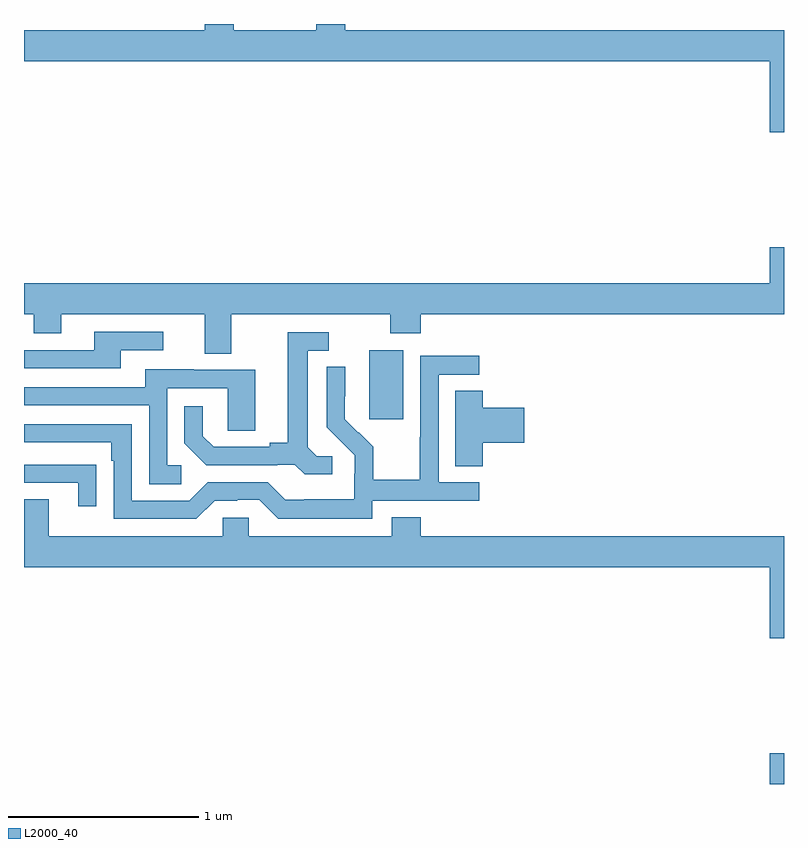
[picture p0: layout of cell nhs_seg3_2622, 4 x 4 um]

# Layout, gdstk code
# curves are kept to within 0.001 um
import gdstk
lib = gdstk.Library(unit=1e-6, precision=1e-09)
def R(c, l, rs):  # rectangles x0, y0, x1, y1
    for r in rs: c.add(gdstk.rectangle(r[:2], r[2:], *l))
def P(c, l, *ps):  # polygons
    for p in ps: c.add(gdstk.Polygon(p, *l))
L2000_40 = (2000, 40)

nhs_seg3_2622 = lib.new_cell('nhs_seg3_2622')
R(nhs_seg3_2622, L2000_40, [(248.924,742.4,249,742.561), (246.818,744.321,246.997,744.682)])
P(nhs_seg3_2622, L2000_40, [(249,746.368),(246.692,746.368),(246.692,746.4),(246.539,746.4),(246.539,746.368),(246.103,746.368),(246.103,746.4),(245.951,746.4),(245.951,746.368),(245,746.368),(245,746.204),(248.924,746.204),(248.924,745.83),(249,745.83)],
  [(246.091,744.872),(246.928,744.872),(246.928,744.773),(247.088,744.773),(247.088,744.872),(249,744.872),(249,745.225),(248.924,745.225),(248.924,745.036),(245,745.036),(245,744.872),(245.05,744.872),(245.05,744.773),(245.197,744.773),(245.197,744.872),(245.951,744.872),(245.951,744.664),(246.091,744.664)],
  [(245.509,744.684),(245.734,744.684),(245.734,744.78),(245.369,744.78),(245.369,744.684),(245,744.684),(245,744.588),(245.509,744.588)],
  [(246.622,744.126),(246.54,744.126),(246.493,744.173),(246.493,744.681),(246.604,744.681),(246.604,744.777),(246.389,744.777),(246.389,744.197),(246.293,744.197),(246.293,744.174),(245.998,744.174),(245.941,744.231),(245.941,744.388),(245.844,744.388),(245.844,744.194),(245.96,744.078),(246.332,744.078),(246.332,744.081),(246.426,744.081),(246.478,744.029),(246.622,744.029)],
  [(246.834,743.892),(247.396,743.892),(247.396,743.988),(247.182,743.988),(247.182,744.555),(247.396,744.555),(247.396,744.654),(247.086,744.654),(247.086,744.224),(247.084,744.224),(247.084,744.001),(246.839,744.001),(246.839,744.175),(246.762,744.252),(246.759,744.249),(246.689,744.32),(246.69,744.596),(246.594,744.596),(246.594,744.278),(246.74,744.13),(246.74,744.033),(246.738,744.033),(246.738,743.899),(246.475,743.899),(246.475,743.895),(246.375,743.895),(246.282,743.988),(245.967,743.988),(245.871,743.892),(245.568,743.892),(245.568,744.294),(245,744.294),(245,744.198),(245.459,744.198),(245.459,744.101),(245.472,744.101),(245.472,743.796),(245.907,743.796),(246.003,743.892),(246.122,743.892),(246.122,743.895),(246.237,743.895),(246.337,743.795),(246.834,743.795)],
  [(245.827,744.078),(245.754,744.078),(245.754,744.483),(246.072,744.483),(246.072,744.259),(246.217,744.259),(246.217,744.579),(245.893,744.579),(245.893,744.583),(245.639,744.583),(245.639,744.489),(245,744.489),(245,744.393),(245.658,744.393),(245.658,743.977),(245.827,743.977)],
  [(247.415,744.197),(247.633,744.197),(247.633,744.38),(247.415,744.38),(247.415,744.47),(247.271,744.47),(247.271,744.073),(247.415,744.073)],
  [(245.381,744.08),(245.279,744.08),(245.279,744.081),(245,744.081),(245,743.985),(245.285,743.985),(245.285,743.862),(245.381,743.862)],
  [(249,743.704),(247.088,743.704),(247.088,743.803),(246.935,743.803),(246.935,743.704),(246.183,743.704),(246.183,743.802),(246.045,743.802),(246.045,743.704),(245.131,743.704),(245.131,743.899),(245,743.899),(245,743.54),(248.924,743.54),(248.924,743.166),(249,743.166)])

lib.write_gds('nhs_seg3_2622.gds')
